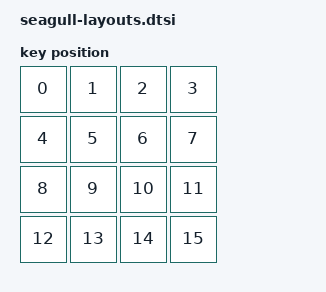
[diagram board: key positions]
#include <physical_layouts.dtsi>

/ {
    seagull_physical_layout: seagull_physical_layout {
        compatible = "zmk,physical-layout";
        display-name = "Seagull Default";

        keys  //                     w    h    x    y   rot   rx   ry
            = <&key_physical_attrs 100  100    0    0     0    0    0>
            , <&key_physical_attrs 100  100  100    0     0    0    0>
            , <&key_physical_attrs 100  100  200    0     0    0    0>
            , <&key_physical_attrs 100  100  300    0     0    0    0>
            , <&key_physical_attrs 100  100    0  100     0    0    0>
            , <&key_physical_attrs 100  100  100  100     0    0    0>
            , <&key_physical_attrs 100  100  200  100     0    0    0>
            , <&key_physical_attrs 100  100  300  100     0    0    0>
            , <&key_physical_attrs 100  100    0  200     0    0    0>
            , <&key_physical_attrs 100  100  100  200     0    0    0>
            , <&key_physical_attrs 100  100  200  200     0    0    0>
            , <&key_physical_attrs 100  100  300  200     0    0    0>
            , <&key_physical_attrs 100  100    0  300     0    0    0>
            , <&key_physical_attrs 100  100  100  300     0    0    0>
            , <&key_physical_attrs 100  100  200  300     0    0    0>
            , <&key_physical_attrs 100  100  300  300     0    0    0>
            ;
    };
};
